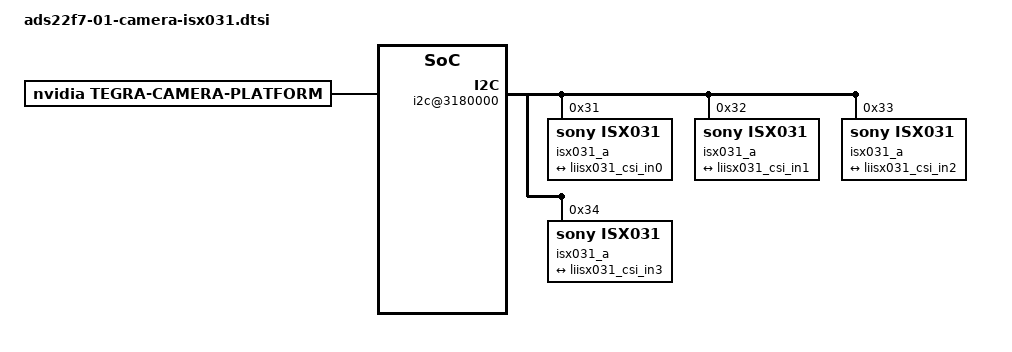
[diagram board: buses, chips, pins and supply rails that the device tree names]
/*
 * Copyright (c) 2018-2021, NVIDIA CORPORATION.  All rights reserved.
 *
 * This program is free software; you can redistribute it and/or modify it
 * under the terms and conditions of the GNU General Public License,
 * version 2, as published by the Free Software Foundation.
 *
 * This program is distributed in the hope it will be useful, but WITHOUT
 * ANY WARRANTY; without even the implied warranty of MERCHANTABILITY or
 * FITNESS FOR A PARTICULAR PURPOSE.  See the GNU General Public License for
 * more details.
 *
 * You should have received a copy of the GNU General Public License
 * along with this program.  If not, see <http://www.gnu.org/licenses/>.
 */

/ {
  tegra-capture-vi {
    num-channels = <4>;
    ports {
      #address-cells = <1>;
      #size-cells = <0>;
      port@0 {
        reg = <0>;
        liisx031_vi_in0: endpoint {
          vc-id = <0>;
          port-index = <4>;
          bus-width = <4>;
          remote-endpoint = <&liisx031_csi_out0>;
        };
      };
      port@1 {
        reg = <1>;
        liisx031_vi_in1: endpoint {
          vc-id = <1>;
          port-index = <4>;
          bus-width = <4>;
          remote-endpoint = <&liisx031_csi_out1>;
        };
      };
      port@2 {
        reg = <2>;
        liisx031_vi_in2: endpoint {
          vc-id = <2>;
          port-index = <4>;
          bus-width = <4>;
          remote-endpoint = <&liisx031_csi_out2>;
        };
      };
      port@3 {
        reg = <3>;
        liisx031_vi_in3: endpoint {
          vc-id = <3>;
          port-index = <4>;
          bus-width = <4>;
          remote-endpoint = <&liisx031_csi_out3>;
        };
      };
    };
  };

  host1x@13e00000 {
    nvcsi@15a00000 {
      num-channels = <4>;
      #address-cells = <1>;
      #size-cells = <0>;
      channel@0 {
        reg = <0>;
        ports {
          #address-cells = <1>;
          #size-cells = <0>;
          port@0 {
            reg = <0>;
            liisx031_csi_in0: endpoint@0 {
              port-index = <4>;
              bus-width = <4>;
              remote-endpoint = <&liisx031_isx031_out0>;
            };
          };
          port@1 {
            reg = <1>;
            liisx031_csi_out0: endpoint@1 {
              remote-endpoint = <&liisx031_vi_in0>;
            };
          };
        };
      };
      channel@1 {
        reg = <1>;
        ports {
          #address-cells = <1>;
          #size-cells = <0>;
          port@0 {
            reg = <0>;
            liisx031_csi_in1: endpoint@2 {
              port-index = <4>;
              bus-width = <4>;
              remote-endpoint = <&liisx031_isx031_out1>;
            };
          };
          port@1 {
            reg = <1>;
            liisx031_csi_out1: endpoint@3 {
              remote-endpoint = <&liisx031_vi_in1>;
            };
          };
        };
      };
      channel@2 {
        reg = <2>;
        ports {
          #address-cells = <1>;
          #size-cells = <0>;
          port@0 {
            reg = <0>;
            liisx031_csi_in2: endpoint@4 {
              port-index = <4>;
              bus-width = <4>;
              remote-endpoint = <&liisx031_isx031_out2>;
            };
          };
          port@1 {
            reg = <1>;
            liisx031_csi_out2: endpoint@5 {
              remote-endpoint = <&liisx031_vi_in2>;
            };
          };
        };
      };
      channel@3 {
        reg = <3>;
        ports {
          #address-cells = <1>;
          #size-cells = <0>;
          port@0 {
            reg = <0>;
            liisx031_csi_in3: endpoint@6 {
              port-index = <4>;
              bus-width = <4>;
              remote-endpoint = <&liisx031_isx031_out3>;
            };
          };
          port@1 {
            reg = <1>;
            liisx031_csi_out3: endpoint@7 {
              remote-endpoint = <&liisx031_vi_in3>;
            };
          };
        };
      };
    };
  };

  i2c@3180000 {
    isx031_a@31{
      compatible = "sony,isx031";
      reg = <0x31>;
      sensor_model ="isx031";
      mode0 {
        mclk_khz = "24000";
        num_lanes = "4";  // Or "4" if your module/board supports it for more headroom
        tegra_sinterface = "serial_e";
        phy_mode = "DPHY";
        vc_id = "0";
        discontinuous_clk = "no";
        dpcm_enable = "false";
        cil_settletime = "0";
        dynamic_pixel_bit_depth = "16";
        csi_pixel_bit_depth = "16";
        mode_type = "yuv";
        pixel_phase = "uyvy";

        active_w = "1920";
        active_h = "1536";  // ← Changed
        readout_orientation = "0";
        line_length = "1000";  // ← Changed for standard timings
        inherent_gain = "1";
        
        pix_clk_hz = "134400000";  // ← Changed to match standard 1080p30
        serdes_pix_clk_hz = "300000000";  // Keep if using GMSL2 deserializer

        gain_factor = "10";
        min_gain_val = "0";
        max_gain_val = "300";
        step_gain_val = "3";
        default_gain = "0";
        min_hdr_ratio = "1";
        max_hdr_ratio = "1";
        framerate_factor = "1000000";
		    min_framerate = "30000000";
		    max_framerate = "30000000";
		    step_framerate = "1";
		    default_framerate = "30000000";
		    exposure_factor = "1000000";
		    min_exp_time = "59"; /*us, 2 lines*/
		    max_exp_time = "33333";
		    step_exp_time = "1";
		    default_exp_time = "33333";/* us */
		    embedded_metadata_height = "0";
      };
      ports {
        #address-cells = <1>;
        #size-cells = <0>;
        port@0 {
          reg = <0>;
          liisx031_isx031_out0: endpoint {
            vc-id = <0>;
            port-index = <4>;
            bus-width = <4>;
            remote-endpoint = <&liisx031_csi_in0>;
          };
        };
      };
    };


    isx031_a@32{
      compatible = "sony,isx031";
      reg = <0x32>;
      sensor_model ="isx031";
      mode0 {
        mclk_khz = "24000";
        num_lanes = "4";  // Or "4" if your module/board supports it for more headroom
        tegra_sinterface = "serial_e";
        phy_mode = "DPHY";
        vc_id = "1";
        discontinuous_clk = "no";
        dpcm_enable = "false";
        cil_settletime = "0";
        dynamic_pixel_bit_depth = "16";
        csi_pixel_bit_depth = "16";
        mode_type = "yuv";
        pixel_phase = "uyvy";

        active_w = "1920";
        active_h = "1536";  // ← Changed
        readout_orientation = "0";
        line_length = "1000";  // ← Changed for standard timings
        inherent_gain = "1";
        
        pix_clk_hz = "134400000";  // ← Changed to match standard 1080p30
        serdes_pix_clk_hz = "300000000";  // Keep if using GMSL2 deserializer

        gain_factor = "10";
        min_gain_val = "0";
        max_gain_val = "300";
        step_gain_val = "3";
        default_gain = "0";
        min_hdr_ratio = "1";
        max_hdr_ratio = "1";
        framerate_factor = "1000000";
		    min_framerate = "30000000";
		    max_framerate = "30000000";
		    step_framerate = "1";
		    default_framerate = "30000000";
		    exposure_factor = "1000000";
		    min_exp_time = "59"; /*us, 2 lines*/
		    max_exp_time = "33333";
		    step_exp_time = "1";
		    default_exp_time = "33333";/* us */
		    embedded_metadata_height = "0";
      };
      ports {
        #address-cells = <1>;
        #size-cells = <0>;
        port@0 {
          reg = <0>;
          liisx031_isx031_out1: endpoint {
            vc-id = <1>;
            port-index = <4>;
            bus-width = <4>;
            remote-endpoint = <&liisx031_csi_in1>;
          };
        };
      };
    };


    isx031_a@33{
      compatible = "sony,isx031";
      reg = <0x33>;
      sensor_model ="isx031";
      mode0 {
        mclk_khz = "24000";
        num_lanes = "4";  // Or "4" if your module/board supports it for more headroom
        tegra_sinterface = "serial_e";
        phy_mode = "DPHY";
        vc_id = "2";
        discontinuous_clk = "no";
        dpcm_enable = "false";
        cil_settletime = "0";
        dynamic_pixel_bit_depth = "16";
        csi_pixel_bit_depth = "16";
        mode_type = "yuv";
        pixel_phase = "uyvy";

        active_w = "1920";
        active_h = "1536";  // ← Changed
        readout_orientation = "0";
        line_length = "1000";  // ← Changed for standard timings
        inherent_gain = "1";
        
        pix_clk_hz = "134400000";  // ← Changed to match standard 1080p30
        serdes_pix_clk_hz = "300000000";  // Keep if using GMSL2 deserializer

        gain_factor = "10";
        min_gain_val = "0";
        max_gain_val = "300";
        step_gain_val = "3";
        default_gain = "0";
        min_hdr_ratio = "1";
        max_hdr_ratio = "1";
        framerate_factor = "1000000";
		    min_framerate = "30000000";
		    max_framerate = "30000000";
		    step_framerate = "1";
		    default_framerate = "30000000";
		    exposure_factor = "1000000";
		    min_exp_time = "59"; /*us, 2 lines*/
		    max_exp_time = "33333";
		    step_exp_time = "1";
		    default_exp_time = "33333";/* us */
		    embedded_metadata_height = "0";
      };
      ports {
        #address-cells = <1>;
        #size-cells = <0>;
        port@0 {
          reg = <0>;
          liisx031_isx031_out2: endpoint {
            vc-id = <2>;
            port-index = <4>;
            bus-width = <4>;
            remote-endpoint = <&liisx031_csi_in2>;
          };
        };
      };
    };


    isx031_a@34{
      compatible = "sony,isx031";
      reg = <0x34>;
      sensor_model ="isx031";
      mode0 {
        mclk_khz = "24000";
        num_lanes = "4";  // Or "4" if your module/board supports it for more headroom
        tegra_sinterface = "serial_e";
        phy_mode = "DPHY";
        vc_id = "3";
        discontinuous_clk = "no";
        dpcm_enable = "false";
        cil_settletime = "0";
        dynamic_pixel_bit_depth = "16";
        csi_pixel_bit_depth = "16";
        mode_type = "yuv";
        pixel_phase = "uyvy";

        active_w = "1920";
        active_h = "1536";  // ← Changed
        readout_orientation = "0";
        line_length = "1000";  // ← Changed for standard timings
        inherent_gain = "1";
        
        pix_clk_hz = "134400000";  // ← Changed to match standard 1080p30
        serdes_pix_clk_hz = "300000000";  // Keep if using GMSL2 deserializer

        gain_factor = "10";
        min_gain_val = "0";
        max_gain_val = "300";
        step_gain_val = "3";
        default_gain = "0";
        min_hdr_ratio = "1";
        max_hdr_ratio = "1";
        framerate_factor = "1000000";
		    min_framerate = "30000000";
		    max_framerate = "30000000";
		    step_framerate = "1";
		    default_framerate = "30000000";
		    exposure_factor = "1000000";
		    min_exp_time = "59"; /*us, 2 lines*/
		    max_exp_time = "33333";
		    step_exp_time = "1";
		    default_exp_time = "33333";/* us */
		    embedded_metadata_height = "0";
      };
      ports {
        #address-cells = <1>;
        #size-cells = <0>;
        port@0 {
          reg = <0>;
          liisx031_isx031_out3: endpoint {
            vc-id = <3>;
            port-index = <4>;
            bus-width = <4>;
            remote-endpoint = <&liisx031_csi_in3>;
          };
        };
      };
    };
  };
};

/ {

	tegra-camera-platform {
		compatible = "nvidia, tegra-camera-platform";

		/**
		 * The general guideline for naming badge_info contains 3 parts, and is as follows,
		 * The first part is the camera_board_id for the module; if the module is in a FFD
		 * platform, then use the platform name for this part.
		 * The second part contains the position of the module, ex. "rear" or "front".
		 * The third part contains the last 6 characters of a part number which is found
		 * in the module's specsheet from the vender.
		 */
		modules {
			module0 {
				badge = "isx031_bottom_liisx031";
				position = "bottom";
				orientation = "0";
				drivernode0 {
					/* Declare PCL support driver (classically known as guid)  */
					pcl_id = "v4l2_sensor";
					/* Driver v4l2 device name */
					devname = "isx031 0-0031";
					/* Declare the device-tree hierarchy to driver instance */
					proc-device-tree = "/proc/device-tree/i2c@3180000/isx031_a@31";
				};
			};

      module1 {
				badge = "isx031_front_liisx031";
				position = "front";
				orientation = "0";
				drivernode0 {
					/* Declare PCL support driver (classically known as guid)  */
					pcl_id = "v4l2_sensor";
					/* Driver v4l2 device name */
					devname = "isx031 0-0032";
					/* Declare the device-tree hierarchy to driver instance */
					proc-device-tree = "/proc/device-tree/i2c@3180000/isx031_a@32";
				};
			};

      module2 {
				badge = "isx031_up_liisx031";
				position = "up";
				orientation = "0";
				drivernode0 {
					/* Declare PCL support driver (classically known as guid)  */
					pcl_id = "v4l2_sensor";
					/* Driver v4l2 device name */
					devname = "isx031 0-0033";
					/* Declare the device-tree hierarchy to driver instance */
					proc-device-tree = "/proc/device-tree/i2c@3180000/isx031_a@33";
				};
			};

      module3 {
				badge = "isx031_back_liisx031";
				position = "back";
				orientation = "0";
				drivernode0 {
					/* Declare PCL support driver (classically known as guid)  */
					pcl_id = "v4l2_sensor";
					/* Driver v4l2 device name */
					devname = "isx031 0-0034";
					/* Declare the device-tree hierarchy to driver instance */
					proc-device-tree = "/proc/device-tree/i2c@3180000/isx031_a@34";
				};
			};
		};
	};
};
